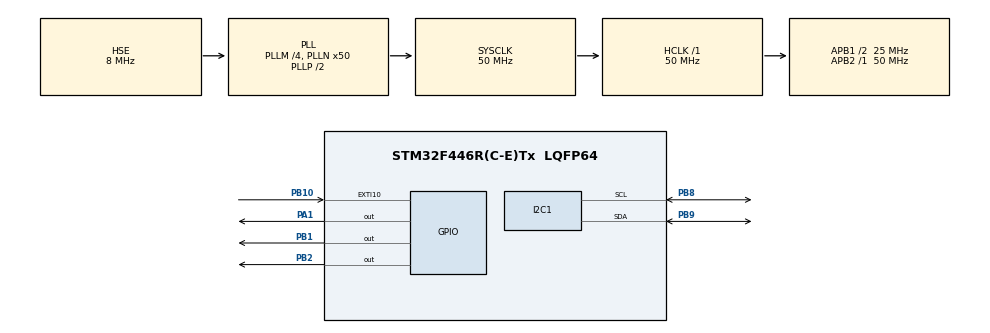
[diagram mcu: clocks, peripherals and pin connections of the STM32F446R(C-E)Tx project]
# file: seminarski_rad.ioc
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Mcu.Family=STM32F4
Mcu.Name=STM32F446R(C-E)Tx
Mcu.Package=LQFP64
NVIC.EXTI15_10_IRQn=true\:3\:0\:true\:false\:true\:true\:true\:true
NVIC.PriorityGroup=NVIC_PRIORITYGROUP_4
PA1.Signal=GPIO_Output
PA13.Mode=Serial_Wire
PA13.Signal=SYS_JTMS-SWDIO
PA14.Mode=Serial_Wire
PA14.Signal=SYS_JTCK-SWCLK
PB1.Signal=GPIO_Output
PB10.GPIO_ModeDefaultEXTI=GPIO_MODE_IT_FALLING
PB10.GPIO_PuPd=GPIO_PULLUP
PB10.Signal=GPXTI10
PB2.Signal=GPIO_Output
PB8.Mode=I2C
PB8.Signal=I2C1_SCL
PB9.Mode=I2C
PB9.Signal=I2C1_SDA
PH0-OSC_IN.Mode=HSE-External-Oscillator
PH0-OSC_IN.Signal=RCC_OSC_IN
PH1-OSC_OUT.Mode=HSE-External-Oscillator
PH1-OSC_OUT.Signal=RCC_OSC_OUT
ProjectManager.HeapSize=0x200
ProjectManager.StackSize=0x400
ProjectManager.TargetToolchain=STM32CubeIDE
RCC.AHBFreq_Value=50000000
RCC.APB1CLKDivider=RCC_HCLK_DIV2
RCC.APB1Freq_Value=25000000
RCC.APB1TimFreq_Value=50000000
RCC.APB2Freq_Value=50000000
RCC.APB2TimFreq_Value=50000000
RCC.CortexFreq_Value=50000000
RCC.HCLKFreq_Value=50000000
RCC.HSE_VALUE=8000000
RCC.PLLM=4
RCC.PLLN=50
RCC.PLLSourceVirtual=RCC_PLLSOURCE_HSE
RCC.SYSCLKFreq_VALUE=50000000
RCC.SYSCLKSource=RCC_SYSCLKSOURCE_PLLCLK
RCC.USBFreq_Value=50000000
RCC.VCOOutputFreq_Value=100000000
TIM6.Period=0xffff-1
TIM6.Prescaler=50-1
VP_TIM6_VS_ClockSourceINT.Mode=Enable_Timer
VP_TIM7_VS_ClockSourceINT.Mode=Enable_Timer
board=custom

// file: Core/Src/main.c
/* USER CODE BEGIN Header */
/**
  ******************************************************************************
  * @file           : main.c
  * @brief          : Main program body
  ******************************************************************************
  * @attention
  *
  * Copyright (c) 2024 STMicroelectronics.
  * All rights reserved.
  *
  * This software is licensed under terms that can be found in the LICENSE file
  * in the root directory of this software component.
  * If no LICENSE file comes with this software, it is provided AS-IS.
  *
  ******************************************************************************
  */
/* USER CODE END Header */
#include "main.h"
#include "i2c.h"
#include "tim.h"
#include "gpio.h"

/* USER CODE BEGIN Includes */
#include "i2c-lcd.h"
#include "stdio.h"
/* USER CODE END Includes */

void SystemClock_Config(void);

/* USER CODE BEGIN 0 */
uint8_t red_flag = 0;
uint8_t x = 0;

void delay (uint16_t time)/*definiranje funkcije za delay u mikrosekundama  */
{
	__HAL_TIM_SET_COUNTER(&htim6, 0);
	while ((__HAL_TIM_GET_COUNTER(&htim6))<time);
}

void Display_Temp (float Temp)/* definiranje funkcije za prikaz temperature */
{
	char str[20] = {0}; /* niz znakova duljine 20 znakova*/
	lcd_put_cur(0, 0);  /*postavljnanje u prvi stupac i redak pozivom funkcije iz i2c-lcd.c */

	sprintf (str, "Temp:- %.2f ", Temp);
	lcd_send_string(str);/*šalje niz znakova str */
	lcd_send_data('C');
}

void Display_Rh (float Rh)/*Definiranje funkicje za prikaz vlage  */
{
	char str[20] = {0};
	lcd_put_cur(1, 0);/*drugi stupac drugi redak */

	sprintf (str, "Vlaga:- %.2f ", Rh);
	lcd_send_string(str);
	lcd_send_data('%');
}

uint8_t Rh_byte1, Rh_byte2, Temp_byte1, Temp_byte2;
uint16_t SUM, VLAGA, TEMP;

float Temperature = 0;
float Humidity = 0;
uint8_t Presence = 0; //odgovor senzora

void Set_Pin_Output (GPIO_TypeDef *GPIOx, uint16_t GPIO_Pin)/* definiranje funckicje za postavljane pina kao izlaz*/
{
	GPIO_InitTypeDef GPIO_InitStruct = {0};
	GPIO_InitStruct.Pin = GPIO_Pin;
	GPIO_InitStruct.Mode = GPIO_MODE_OUTPUT_OD;
	GPIO_InitStruct.Speed = GPIO_SPEED_FREQ_LOW;
	HAL_GPIO_Init(GPIOx, &GPIO_InitStruct);
}

void Set_Pin_Input (GPIO_TypeDef *GPIOx, uint16_t GPIO_Pin)
{
	GPIO_InitTypeDef GPIO_InitStruct = {0};
	GPIO_InitStruct.Pin = GPIO_Pin;
	GPIO_InitStruct.Mode = GPIO_MODE_INPUT;
	GPIO_InitStruct.Pull = GPIO_PULLUP;
	HAL_GPIO_Init(GPIOx, &GPIO_InitStruct);
}

#define DHT11_PORT GPIOA
#define DHT11_PIN GPIO_PIN_1

void DHT11_Start (void)
{

	Set_Pin_Output (DHT11_PORT, DHT11_PIN);  // postavi pin kao izlaz

	HAL_GPIO_WritePin (DHT11_PORT, DHT11_PIN, 1);
	delay (20);
	HAL_GPIO_WritePin (DHT11_PORT, DHT11_PIN, 0);
	delay (18000);

	Set_Pin_Input(DHT11_PORT, DHT11_PIN);// postavi pin kao ulaz

}

uint8_t DHT11_Check_Response (void)
{
	uint8_t Response = 0;
	HAL_GPIO_WritePin (DHT11_PORT, DHT11_PIN, 1);
	delay (40);
	if (!(HAL_GPIO_ReadPin (DHT11_PORT, DHT11_PIN)))// ako senzor šalje nisko stanje
	{
		delay (80);
		if ((HAL_GPIO_ReadPin (DHT11_PORT, DHT11_PIN))) // ako senzor šalje visoko stanje
		Response = 1;
		else Response = -1; // greška
	}
	while ((HAL_GPIO_ReadPin (DHT11_PORT, DHT11_PIN)));   // kada senzor šalje nisko vraća vrijednost response

	return Response;
}

uint8_t DHT11_Read (void)
{
	uint8_t i,j;
	for (j=0;j<8;j++)
	{
		while (!(HAL_GPIO_ReadPin (DHT11_PORT, DHT11_PIN)));   // ako senzor šalje nisko stanje
		delay (50);
		if (!(HAL_GPIO_ReadPin (DHT11_PORT, DHT11_PIN)))
		{
			i&= ~(1<<(7-j));   // postavlja određeni bit varijable u nulu
		}
		else i|= (1<<(7-j));  // postavlja određeni bit varijable u jedinicu
	}
	return i;
}
/* USER CODE END 0 */

int main(void)
{

  /* MCU Configuration--------------------------------------------------------*/

  /* Reset of all peripherals, Initializes the Flash interface and the Systick. */
  HAL_Init();

  /* Configure the system clock */
  SystemClock_Config();

  /* Initialize all configured peripherals */
  MX_GPIO_Init();
  MX_TIM6_Init();
  MX_TIM7_Init();
  MX_I2C1_Init();
  /* USER CODE BEGIN 2 */
  HAL_TIM_Base_Start(&htim6);

  lcd_init();

 /* HAL_Delay(3000);
  lcd_clear ();

  */

  /* USER CODE END 2 */

  /* Infinite loop */
  while (1)
  {

	  lcd_clear ();
	  lcd_send_string(" Prikaz vlage i");
	  lcd_put_cur(1, 0);
	  lcd_send_string("  temperature ->");

	  HAL_Delay(2000);

	  DHT11_Start();
	  Presence = DHT11_Check_Response();
	  Rh_byte1 = DHT11_Read ();
	  Rh_byte2 = DHT11_Read ();
	  Temp_byte1 = DHT11_Read ();
	  Temp_byte2 = DHT11_Read ();
	  SUM = DHT11_Read();

	  HAL_Delay(3000);

       if( Temp_byte1>= 24){
	  	 		  HAL_GPIO_WritePin(GPIOB,GPIO_PIN_2,1);
	  	 		  HAL_GPIO_WritePin(GPIOB,GPIO_PIN_1,0);
       }
       if(Temp_byte1 < 24){
	  	 		  HAL_GPIO_WritePin(GPIOB,GPIO_PIN_2,0);
	  	 		  HAL_GPIO_WritePin(GPIOB,GPIO_PIN_1,1);

       }

       if(red_flag == 1 &&  __HAL_TIM_GET_COUNTER(&htim7) == htim7.Init.Period ){

	           while(x<5 ){

		           lcd_clear ();
		           DHT11_Start();
		           Presence = DHT11_Check_Response();
		           Rh_byte1 = DHT11_Read ();
		           Rh_byte2 = DHT11_Read ();
		           Temp_byte1 = DHT11_Read ();
		           Temp_byte2 = DHT11_Read ();
		           SUM = DHT11_Read();

		           TEMP = Temp_byte1;
		           VLAGA = Rh_byte1;
		           Temperature = (float) TEMP;
		           Humidity = (float) VLAGA;
                   Display_Temp(Temperature);
                   Display_Rh(Humidity);

                   HAL_Delay(3000);
                    x++;
	           }

    }
  }
}

void SystemClock_Config(void)
{
  RCC_OscInitTypeDef RCC_OscInitStruct = {0};
  RCC_ClkInitTypeDef RCC_ClkInitStruct = {0};

  /** Configure the main internal regulator output voltage
  */
  __HAL_RCC_PWR_CLK_ENABLE();
  __HAL_PWR_VOLTAGESCALING_CONFIG(PWR_REGULATOR_VOLTAGE_SCALE3);

  /** Initializes the RCC Oscillators according to the specified parameters
  * in the RCC_OscInitTypeDef structure.
  */
  RCC_OscInitStruct.OscillatorType = RCC_OSCILLATORTYPE_HSE;
  RCC_OscInitStruct.HSEState = RCC_HSE_ON;
  RCC_OscInitStruct.PLL.PLLState = RCC_PLL_ON;
  RCC_OscInitStruct.PLL.PLLSource = RCC_PLLSOURCE_HSE;
  RCC_OscInitStruct.PLL.PLLM = 4;
  RCC_OscInitStruct.PLL.PLLN = 50;
  RCC_OscInitStruct.PLL.PLLP = RCC_PLLP_DIV2;
  RCC_OscInitStruct.PLL.PLLQ = 2;
  RCC_OscInitStruct.PLL.PLLR = 2;
  if (HAL_RCC_OscConfig(&RCC_OscInitStruct) != HAL_OK)
  {
    Error_Handler();
  }

  /** Initializes the CPU, AHB and APB buses clocks
  */
  RCC_ClkInitStruct.ClockType = RCC_CLOCKTYPE_HCLK|RCC_CLOCKTYPE_SYSCLK
                              |RCC_CLOCKTYPE_PCLK1|RCC_CLOCKTYPE_PCLK2;
  RCC_ClkInitStruct.SYSCLKSource = RCC_SYSCLKSOURCE_PLLCLK;
  RCC_ClkInitStruct.AHBCLKDivider = RCC_SYSCLK_DIV1;
  RCC_ClkInitStruct.APB1CLKDivider = RCC_HCLK_DIV2;
  RCC_ClkInitStruct.APB2CLKDivider = RCC_HCLK_DIV1;

  if (HAL_RCC_ClockConfig(&RCC_ClkInitStruct, FLASH_LATENCY_1) != HAL_OK)
  {
    Error_Handler();
  }
}

/* USER CODE BEGIN 4 */

HAL_GPIO_EXTI_Callback(uint16_t GPIO_Pin){
	HAL_TIM_Base_Start(&htim7);
	red_flag = 1;
	x = 0;
}
/* USER CODE END 4 */

void Error_Handler(void)
{
  __disable_irq();
  while (1)
  {
  }
}
